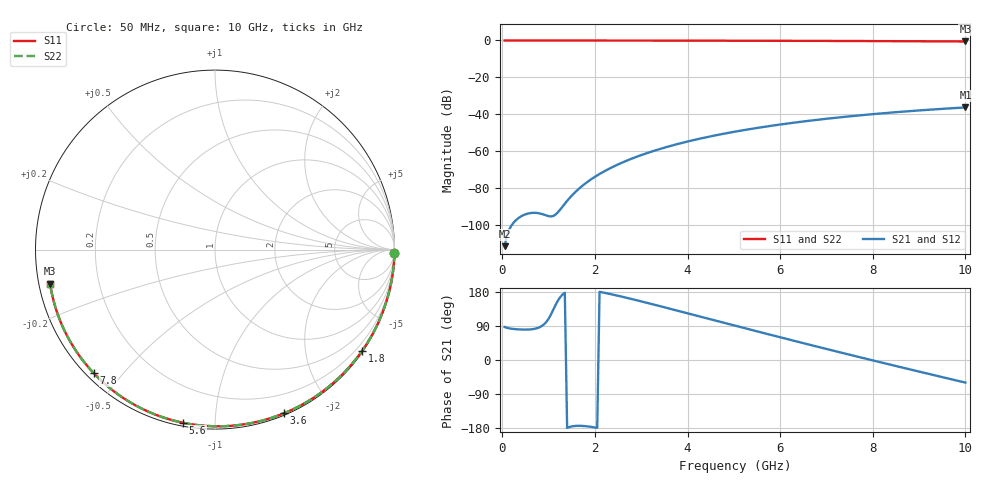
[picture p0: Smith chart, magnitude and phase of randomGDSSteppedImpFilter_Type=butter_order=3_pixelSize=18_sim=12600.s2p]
! freq	dB(S11)	phase(S11)	dB(S12)	phase(S12)
!  dB(S21)	phase(S21)	dB(S22)	phase(S22)
!S-par simulation data
#  GHz  S  DB  R 50
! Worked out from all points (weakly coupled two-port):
!   200 points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, 50 MHz to 10 GHz, reference 50 ohm
!   highest |S21| = -36.27 dB at 10 GHz (marker M1); lowest = -111.4 dB at 50 MHz (marker M2)
!   lowest |S11| = -0.6 dB at 10 GHz (marker M3), VSWR 31.44, Z = 1.61 - j5.1 ohm
!   |S11| at or under -10 dB: nowhere
!   |S22| runs from -0.6 to 0.0 dB; largest |S21 - S12| = 0
!   S11 on the Smith chart (normalised r, x): 50 MHz: open; 1.8 GHz: 0.03, -3.21; 3.6 GHz: 0.02, -1.51; 5.6 GHz: 0.02, -0.83; 7.8 GHz: 0.02, -0.42; 10 GHz: 0.03, -0.10
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0.05  -0.00 -1.0  -111.38 87.2  -111.38 87.2  -0.00 -1.0
0.45  -0.01 -8.8  -94.66 80.3  -94.66 80.3  -0.01 -8.8
0.85  -0.02 -16.5  -93.92 89.4  -93.92 89.4  -0.02 -16.5
1.65  -0.04 -31.7  -80.38 -173.6  -80.38 -173.6  -0.04 -31.8
1.7  -0.04 -32.7  -79.30 -173.7  -79.30 -173.7  -0.04 -32.7
1.75  -0.04 -33.6  -78.28 -174.1  -78.28 -174.1  -0.04 -33.6
1.8  -0.04 -34.6  -77.31 -174.6  -77.31 -174.6  -0.04 -34.6
2.1  -0.05 -40.2  -72.30 179.9  -72.30 179.9  -0.05 -40.2
2.3  -0.06 -43.8  -69.54 175.0  -69.54 175.0  -0.06 -43.9
2.5  -0.06 -47.5  -67.11 169.5  -67.11 169.5  -0.06 -47.5
2.9  -0.07 -54.8  -62.98 157.7  -62.98 157.7  -0.07 -54.8
3.4  -0.08 -63.6  -58.79 142.3  -58.79 142.3  -0.08 -63.7
3.6  -0.09 -67.1  -57.34 136.0  -57.34 136.0  -0.09 -67.2
4.3  -0.11 -79.1  -52.98 113.7  -52.98 113.7  -0.11 -79.2
5.05  -0.14 -91.6  -49.26 89.8  -49.26 89.8  -0.14 -91.6
5.6  -0.17 -100.4  -46.98 72.5  -46.98 72.5  -0.17 -100.4
6.15  -0.20 -109.1  -45.00 55.3  -45.00 55.3  -0.20 -109.1
6.7  -0.23 -117.6  -43.26 38.3  -43.26 38.3  -0.23 -117.7
7.8  -0.31 -134.4  -40.36 4.9  -40.36 4.9  -0.31 -134.5
8.35  -0.36 -142.8  -39.15 -11.5  -39.15 -11.5  -0.36 -142.8
9.2  -0.45 -155.8  -37.53 -36.4  -37.53 -36.4  -0.45 -155.8
10  -0.55 -168.3  -36.27 -59.6  -36.27 -59.6  -0.55 -168.4
